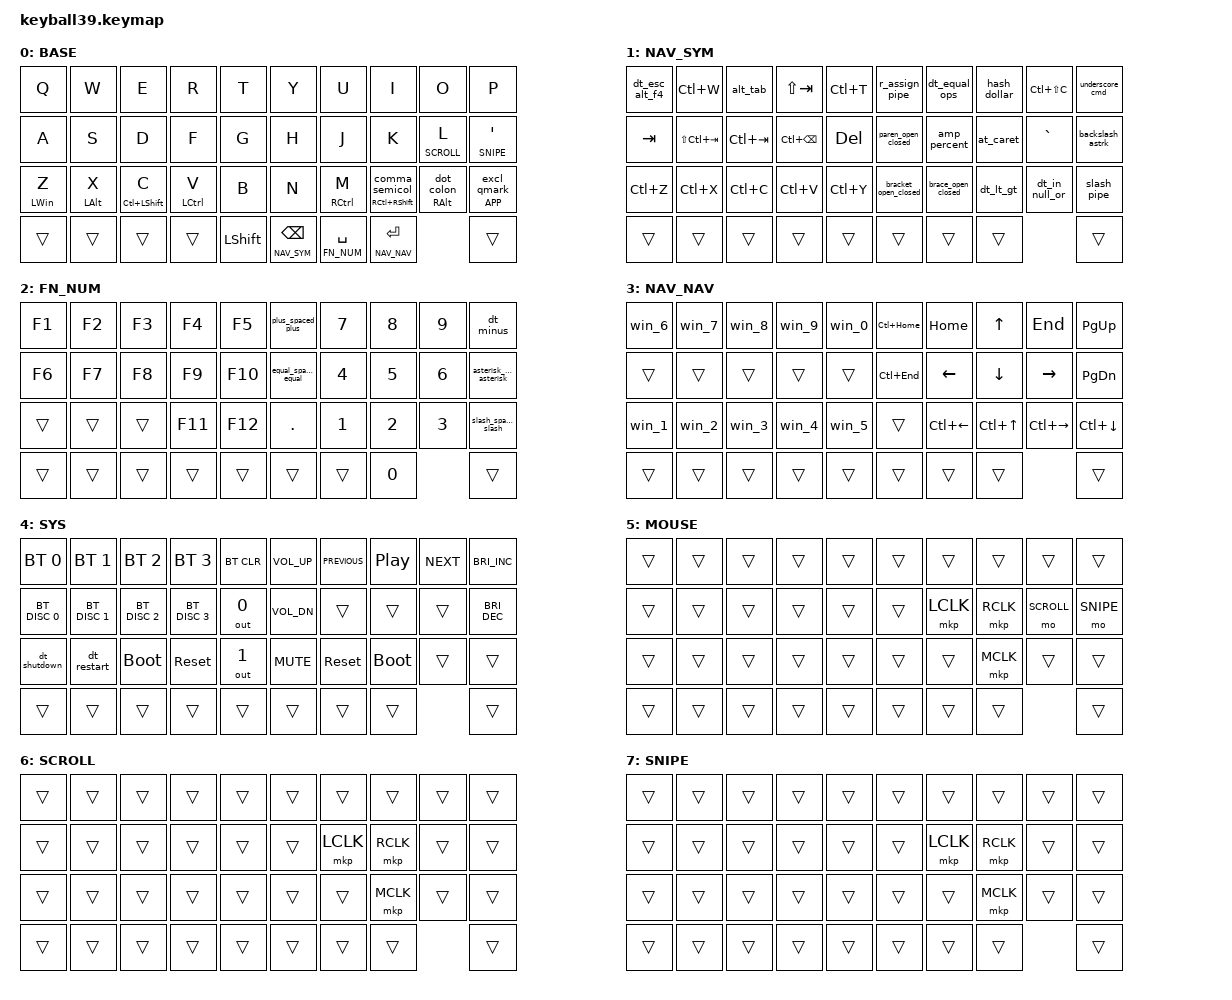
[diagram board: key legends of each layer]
/*
 * Keyball39 (keyball_nano) keymap
 *
 * Layout: 3x5 + 2 thumb keys per half, trackball on the right.
 * Bonus 3 + 1 lower row keys currently unused.
 */

/* ------------------------------------------------------------------ *
 *  Layer indices
 * ------------------------------------------------------------------ */
#define BASE    0
#define NAV_SYM 1
#define FN_NUM  2
#define NAV_NAV 3
#define SYS     4
#define MOUSE   5
#define SCROLL  6
#define SNIPE   7

#include <behaviors/mouse_keys.dtsi>
#include <dt-bindings/zmk/mouse.h>
#include <behaviors.dtsi>
#include <dt-bindings/zmk/bt.h>
#include <dt-bindings/zmk/keys.h>

/* ------------------------------------------------------------------ *
 *  Physical key-position groups
 * ------------------------------------------------------------------ */
#define KEYS_L 0 1 2 3 4 10 11 12 13 14 20 21 22 23 24 30 31 32
#define KEYS_R 5 6 7 8 9 15 16 17 18 19 25 26 27 28 29 38
#define THUMBS 33 34 35 36 37

/* -------------------------------------------------------------------- *
 *  Node-generator helpers: #define macros expand to standard ZMK nodes
 * -------------------------------------------------------------------- */

/* Shift mod-morph: tap -> DEFAULT, either shift held -> SHIFTED */
#define MORPH(NAME, DEFAULT, SHIFTED) \
    NAME: NAME { \
        compatible = "zmk,behavior-mod-morph"; \
        #binding-cells = <0>; \
        bindings = <DEFAULT>, <SHIFTED>; \
        mods = <(MOD_LSFT|MOD_RSFT)>; \
    };

/* Windows desktop/app swapper (tri-state): hold LWIN, tap KEY, release */
#define WINSWAP(NAME, KEY) \
    NAME: NAME { \
        compatible = "zmk,behavior-tri-state"; \
        #binding-cells = <0>; \
        bindings = <&kt LWIN>, <&kp KEY>, <&kt LWIN>; \
    };

/ {
    behaviors {

    /* ------------------------------------------------------------ *
     *  Hold-taps & layer taps
     * ------------------------------------------------------------ */
        lt: layer_tap {
            compatible = "zmk,behavior-hold-tap";
            #binding-cells = <2>;
            flavor = "hold-preferred";
            tapping-term-ms = <280>;
            bindings = <&mo>, <&kp>;
        };
        slt: space_layer_tap {
            compatible = "zmk,behavior-hold-tap";
            #binding-cells = <2>;
            flavor = "balanced";
            tapping-term-ms = <220>;
            bindings = <&mo>, <&kp>;
        };
        htl: left_hand_hold_tap {
            compatible = "zmk,behavior-hold-tap";
            #binding-cells = <2>;
            flavor = "balanced";
            tapping-term-ms = <235>;
            quick-tap-ms = <175>;
            require-prior-idle-ms = <150>;
            bindings = <&kp>, <&kp>;
            hold-trigger-key-positions = <KEYS_R THUMBS>;
            hold-trigger-on-release;
        };
        htr: right_hand_hold_tap {
            compatible = "zmk,behavior-hold-tap";
            #binding-cells = <2>;
            flavor = "balanced";
            tapping-term-ms = <250>;
            quick-tap-ms = <175>;
            require-prior-idle-ms = <150>;
            bindings = <&kp>, <&kp>;
            hold-trigger-key-positions = <KEYS_L THUMBS>;
            hold-trigger-on-release;
        };
        htr_mo: right_hand_layer_tap {
            compatible = "zmk,behavior-hold-tap";
            #binding-cells = <2>;
            flavor = "balanced";
            tapping-term-ms = <250>;
            quick-tap-ms = <175>;
            require-prior-idle-ms = <150>;
            bindings = <&mo>, <&kp>;
            hold-trigger-key-positions = <KEYS_L THUMBS>;
            hold-trigger-on-release;
        };
        /* right hand hold-taps with mod-morph tap (second param unused) */
        htr_comma: right_hand_hold_tap_comma_semicol {
            compatible = "zmk,behavior-hold-tap";
            #binding-cells = <2>;
            flavor = "balanced";
            tapping-term-ms = <250>;
            quick-tap-ms = <175>;
            require-prior-idle-ms = <150>;
            bindings = <&kp>, <&comma_semicol>;
            hold-trigger-key-positions = <KEYS_L THUMBS>;
            hold-trigger-on-release;
        };
        htr_dot: right_hand_hold_tap_dot_colon {
            compatible = "zmk,behavior-hold-tap";
            #binding-cells = <2>;
            flavor = "balanced";
            tapping-term-ms = <250>;
            quick-tap-ms = <175>;
            require-prior-idle-ms = <150>;
            bindings = <&kp>, <&dot_colon>;
            hold-trigger-key-positions = <KEYS_L THUMBS>;
            hold-trigger-on-release;
        };
        htr_excl: right_hand_hold_tap_excl_qmark {
            compatible = "zmk,behavior-hold-tap";
            #binding-cells = <2>;
            flavor = "balanced";
            tapping-term-ms = <250>;
            quick-tap-ms = <175>;
            require-prior-idle-ms = <150>;
            bindings = <&kp>, <&excl_qmark>;
            hold-trigger-key-positions = <KEYS_L THUMBS>;
            hold-trigger-on-release;
        };

    /* ------------------------------------------------------------ *
     *  Tap-dances
     * ------------------------------------------------------------ */
        dt_esc_alt_f4: double_tap_esc_alt_f4 {
            compatible = "zmk,behavior-tap-dance";
            #binding-cells = <0>;
            tapping-term-ms = <150>;
            bindings = <&kp ESCAPE>, <&kp LA(F4)>;
        };
        dt_equal_ops: double_tap_equal_operators {
            compatible = "zmk,behavior-tap-dance";
            #binding-cells = <0>;
            tapping-term-ms = <200>;
            bindings = <&spaced_equal>, <&spaced_equality>, <&spaced_unequal>;
        };
        dt_lt_gt: double_tap_lt_gt_spaced_ops {
            compatible = "zmk,behavior-tap-dance";
            #binding-cells = <0>;
            tapping-term-ms = <200>;
            bindings = <&lt_gt>, <&spaced_lte_gte>;
        };
        dt_in_null_or: double_tap_in_null_or {
            compatible = "zmk,behavior-tap-dance";
            #binding-cells = <0>;
            tapping-term-ms = <200>;
            bindings = <&spaced_in>, <&spaced_null_or>;
        };
        dt_minus: double_tap_minus_emdash {
            compatible = "zmk,behavior-tap-dance";
            #binding-cells = <0>;
            tapping-term-ms = <200>;
            bindings = <&minus_spaced_minus>, <&emdash_spaced_emdash>;
        };

    /* ------------------------------------------------------------ *
     *  Windows swappers (tri-state)
     * ------------------------------------------------------------ */
        alt_tab: swapper_alt_tab {
            compatible = "zmk,behavior-tri-state";
            #binding-cells = <0>;
            bindings = <&kt LALT>, <&kp TAB>, <&kt LALT>;
            ignored-key-positions = <3>;
        };
        WINSWAP(win_1, N1)
        WINSWAP(win_2, N2)
        WINSWAP(win_3, N3)
        WINSWAP(win_4, N4)
        WINSWAP(win_5, N5)
        WINSWAP(win_6, N6)
        WINSWAP(win_7, N7)
        WINSWAP(win_8, N8)
        WINSWAP(win_9, N9)
        WINSWAP(win_0, N0)

    /* ------------------------------------------------------------ *
     *  System macros
     * ------------------------------------------------------------ */
        shutdown_win: shutdown_windows {
            compatible = "zmk,behavior-macro";
            #binding-cells = <0>;
            wait-ms = <50>;
            tap-ms = <50>;
            bindings = <&kp LG(X)>, <&macro_wait_time 300>, <&kp LG(X)>, <&kp U>, <&kp U>;
        };
        restart_win: restart_windows {
            compatible = "zmk,behavior-macro";
            #binding-cells = <0>;
            wait-ms = <50>;
            tap-ms = <50>;
            bindings = <&kp LG(X)>, <&macro_wait_time 300>, <&kp LG(X)>, <&kp U>, <&kp R>;
        };
        dt_shutdown: double_tap_shutdown {
            compatible = "zmk,behavior-tap-dance";
            #binding-cells = <0>;
            tapping-term-ms = <200>;
            bindings = <&none>, <&shutdown_win>;
        };
        dt_restart: double_tap_restart {
            compatible = "zmk,behavior-tap-dance";
            #binding-cells = <0>;
            tapping-term-ms = <200>;
            bindings = <&none>, <&restart_win>;
        };
    
    /* ------------------------------------------------------------ *
     *  Spaced-symbol & operator macros
     *
     *  `&macro_release LSHIFT RSHIFT` prefix drops the shift held by a
     *  mod-morph so an unshifted keycode (MINUS/SLASH/EQUAL) isn't corrupted.
     * ------------------------------------------------------------ */

        /* R operators */
        r_assign: r_assign {                      /* " <- " */
            compatible = "zmk,behavior-macro";
            #binding-cells = <0>;
            bindings = <&kp SPACE &kp LESS_THAN &kp MINUS &kp SPACE>;
        };
        r_pipe: r_pipe {                          /* " |> " */
            compatible = "zmk,behavior-macro";
            #binding-cells = <0>;
            bindings = <&kp SPACE &kp PIPE &kp GREATER_THAN &kp SPACE>;
        };
        spaced_in: spaced_in {                    /* " %in% " */
            compatible = "zmk,behavior-macro";
            #binding-cells = <0>;
            bindings = <&macro_release &kp LSHIFT &kp RSHIFT
                        &macro_tap &kp SPACE &kp PERCENT &kp I &kp N &kp PERCENT &kp SPACE>;
        };
        spaced_null_or: spaced_null_or {          /* " %||% " */
            compatible = "zmk,behavior-macro";
            #binding-cells = <0>;
            bindings = <&kp SPACE &kp PERCENT &kp PIPE &kp PIPE &kp PERCENT &kp SPACE>;
        };

        /* Comparison operators */
        spaced_lte: spaced_less_than_equal_to {   /* " <= " */
            compatible = "zmk,behavior-macro";
            #binding-cells = <0>;
            bindings = <&macro_release &kp LSHIFT &kp RSHIFT
                        &macro_tap &kp SPACE &kp LESS_THAN &kp EQUAL &kp SPACE>;
        };
        spaced_gte: spaced_greater_than_equal_to { /* " >= " */
            compatible = "zmk,behavior-macro";
            #binding-cells = <0>;
            bindings = <&macro_release &kp LSHIFT &kp RSHIFT
                        &macro_tap &kp SPACE &kp GREATER_THAN &kp EQUAL &kp SPACE>;
        };
        spaced_equality: spaced_equality {        /* " == " */
            compatible = "zmk,behavior-macro";
            #binding-cells = <0>;
            bindings = <&kp SPACE &kp EQUAL &kp EQUAL &kp SPACE>;
        };
        spaced_unequal: spaced_unequal {          /* " != " */
            compatible = "zmk,behavior-macro";
            #binding-cells = <0>;
            bindings = <&kp SPACE &kp EXCL &kp EQUAL &kp SPACE>;
        };

        /* Spaced math / symbols (shift-release where keycode is unshifted) */
        spaced_equal: spaced_equal {              /* " = " */
            compatible = "zmk,behavior-macro";
            #binding-cells = <0>;
            bindings = <&macro_release &kp LSHIFT &kp RSHIFT
                        &macro_tap &kp SPACE &kp EQUAL &kp SPACE>;
        };
        spaced_minus: spaced_minus {              /* " - " */
            compatible = "zmk,behavior-macro";
            #binding-cells = <0>;
            bindings = <&macro_release &kp LSHIFT &kp RSHIFT
                        &macro_tap &kp SPACE &kp MINUS &kp SPACE>;
        };
        spaced_plus: spaced_plus {                /* " + " (PLUS is shifted) */
            compatible = "zmk,behavior-macro";
            #binding-cells = <0>;
            bindings = <&kp SPACE &kp PLUS &kp SPACE>;
        };
        spaced_asterisk: spaced_asterisk {        /* " * " (ASTERISK is shifted) */
            compatible = "zmk,behavior-macro";
            #binding-cells = <0>;
            bindings = <&kp SPACE &kp ASTERISK &kp SPACE>;
        };
        spaced_slash: spaced_slash {              /* " / " */
            compatible = "zmk,behavior-macro";
            #binding-cells = <0>;
            bindings = <&macro_release &kp LSHIFT &kp RSHIFT
                        &macro_tap &kp SPACE &kp SLASH &kp SPACE>;
        };

        /* Em-dash via Windows Alt+0151 (NumLock must be ON) */
        emdash: emdash {                          /* "—" */
            compatible = "zmk,behavior-macro";
            #binding-cells = <0>;
            bindings = <&macro_release &kp LSHIFT &kp RSHIFT
                        &macro_press &kp LALT
                        &macro_tap &kp KP_N0 &kp KP_N1 &kp KP_N5 &kp KP_N1
                        &macro_release &kp LALT>;
        };
        spaced_emdash: spaced_emdash {            /* " — " */
            compatible = "zmk,behavior-macro";
            #binding-cells = <0>;
            bindings = <&macro_release &kp LSHIFT &kp RSHIFT
                        &macro_tap &kp SPACE
                        &macro_press &kp LALT
                        &macro_tap &kp KP_N0 &kp KP_N1 &kp KP_N5 &kp KP_N1
                        &macro_release &kp LALT
                        &macro_tap &kp SPACE>;
        };
    };

    /* ------------------------------------------------------------ *
     *  Shift mod-morphs (tap = default, either shift = alternate)
     * ------------------------------------------------------------ */

    /* Punctuation / symbol pairs */
    MORPH(comma_semicol,        &kp COMMA,            &kp SEMICOLON)
    MORPH(dot_colon,            &kp DOT,              &kp COLON)
    MORPH(excl_qmark,           &kp EXCL,             &kp QMARK)
    MORPH(paren_open_closed,    &kp LEFT_PARENTHESIS, &kp RIGHT_PARENTHESIS)
    MORPH(bracket_open_closed,  &kp LEFT_BRACKET,     &kp RIGHT_BRACKET)
    MORPH(brace_open_closed,    &kp LEFT_BRACE,       &kp RIGHT_BRACE)
    MORPH(hash_dollar,          &kp HASH,             &kp DOLLAR)
    MORPH(amp_percent,          &kp AMPERSAND,        &kp PERCENT)
    MORPH(at_caret,             &kp AT_SIGN,          &kp CARET)
    MORPH(slash_pipe,           &kp SLASH,            &kp PIPE)
    MORPH(backslash_astrk,      &kp BACKSLASH,        &kp ASTERISK)
    MORPH(lt_gt,                &kp LESS_THAN,        &kp GREATER_THAN)
    MORPH(spaced_lte_gte,       &spaced_lte,          &spaced_gte)
    MORPH(r_assign_pipe,        &r_assign,            &r_pipe)
    MORPH(underscore_cmd,       &kp UNDERSCORE,       &kp LC(LS(P)))

    /* FN_NUM spaced-symbol morphs (tap = symbol, shift = spaced version) */
    MORPH(plus_spaced_plus,         &kp PLUS,     &spaced_plus)
    MORPH(minus_spaced_minus,       &kp MINUS,    &spaced_minus)
    MORPH(emdash_spaced_emdash,     &emdash,      &spaced_emdash)
    MORPH(asterisk_spaced_asterisk, &kp ASTERISK, &spaced_asterisk)
    MORPH(slash_spaced_slash,       &kp SLASH,    &spaced_slash)
    MORPH(equal_spaced_equal,       &kp EQUAL,    &spaced_equal)

    /* ------------------------------------------------------------ *
     *  Conditional layers (NAV_SYM + FN_NUM held -> SYS)
     * ------------------------------------------------------------ */
    conditional_layers {
        compatible = "zmk,conditional-layers";

        system {
            if-layers = <NAV_SYM FN_NUM>;
            then-layer = <SYS>;
        };
    };

    /* ------------------------------------------------------------ *
     *  Keymap
     * ------------------------------------------------------------ */
    keymap {
        compatible = "zmk,keymap";

        /* BASE - alpha + bottom-row mods + thumb layer-taps */
        BASE {
            label = "BASE";
            bindings = <
&kp Q        &kp W        &kp E             &kp R         &kp T                   &kp Y              &kp U         &kp I                   &kp O             &kp P
&kp A        &kp S        &kp D             &kp F         &kp G                   &kp H              &kp J         &kp K                   &htr_mo SCROLL L  &htr_mo SNIPE APOS
&htl LWIN Z  &htl LALT X  &htl LC(LSHFT) C  &htl LCTRL V  &kp B                   &kp N              &htr RCTRL M  &htr_comma RC(RSHFT) 0  &htr_dot RALT 0   &htr_excl K_APP 0
&trans  &trans  &trans  &trans              &kp LSHIFT    &lt NAV_SYM BSPC        &slt FN_NUM SPACE  &lt NAV_NAV ENTER                                       &trans
            >;
        };

        /* NAV_SYM - editing shortcuts + programming symbols */
        NAV_SYM {
            label = "NAV_SYM";
            bindings = <
&dt_esc_alt_f4  &kp LC(W)        &alt_tab     &kp LS(TAB)   &kp LC(T)        &r_assign_pipe        &dt_equal_ops       &hash_dollar  &kp LC(LS(C))   &underscore_cmd
&kp TAB         &kp LS(LC(TAB))  &kp LC(TAB)  &kp LC(BSPC)  &kp DEL          &paren_open_closed    &amp_percent        &at_caret     &kp GRAVE       &backslash_astrk
&kp LC(Z)       &kp LC(X)        &kp LC(C)    &kp LC(V)     &kp LC(Y)        &bracket_open_closed  &brace_open_closed  &dt_lt_gt     &dt_in_null_or  &slash_pipe
&trans  &trans  &trans  &trans                &trans        &trans           &trans                &trans                                            &trans
            >;
        };

        /* FN_NUM - F-keys + numpad & spaced math operators */
        FN_NUM {
            label = "FN_NUM";
            bindings = <
&kp F1  &kp F2  &kp F3  &kp F4   &kp F5                 &plus_spaced_plus    &kp N7  &kp N8  &kp N9  &dt_minus
&kp F6  &kp F7  &kp F8  &kp F9   &kp F10                &equal_spaced_equal  &kp N4  &kp N5  &kp N6  &asterisk_spaced_asterisk
&trans  &trans  &trans  &kp F11  &kp F12                &kp DOT              &kp N1  &kp N2  &kp N3  &slash_spaced_slash
&trans  &trans  &trans  &trans   &trans   &trans        &trans               &kp N0                  &trans
            >;
        };

        /* NAV_NAV - window swappers + arrow navigation */
        NAV_NAV {
            label = "NAV_NAV";
            bindings = <
&win_6  &win_7  &win_8  &win_9  &win_0                &kp LC(HOME)  &kp HOME      &kp UP      &kp END        &kp PG_UP
&trans  &trans  &trans  &trans  &trans                &kp LC(END)   &kp LEFT      &kp DOWN    &kp RIGHT      &kp PG_DN
&win_1  &win_2  &win_3  &win_4  &win_5                &trans        &kp LC(LEFT)  &kp LC(UP)  &kp LC(RIGHT)  &kp LC(DOWN_ARROW)
&trans  &trans  &trans  &trans  &trans  &trans        &trans        &trans                                   &trans
            >;
        };

        /* SYS - BT/output + media & power */
        SYS {
            label = "SYS";
            bindings = <
&bt BT_SEL 0   &bt BT_SEL 1   &bt BT_SEL 2   &bt BT_SEL 3   &bt BT_CLR        &kp C_VOL_UP  &kp C_PREVIOUS  &kp C_PLAY_PAUSE  &kp C_NEXT  &kp C_BRIGHTNESS_INC
&bt BT_DISC 0  &bt BT_DISC 1  &bt BT_DISC 2  &bt BT_DISC 3  &out 0            &kp C_VOL_DN  &trans          &trans            &trans      &kp C_BRIGHTNESS_DEC
&dt_shutdown   &dt_restart    &bootloader    &sys_reset     &out 1            &kp C_MUTE    &sys_reset      &bootloader       &trans      &trans
&trans  &trans  &trans  &trans               &trans         &trans            &trans        &trans                                        &trans
            >;
        };

        /* MOUSE - clicks + scroll/snipe layer access */
        MOUSE {
            label = "MOUSE";
            bindings = <
&trans  &trans  &trans  &trans  &trans                &trans  &trans     &trans     &trans      &trans
&trans  &trans  &trans  &trans  &trans                &trans  &mkp LCLK  &mkp RCLK  &mo SCROLL  &mo SNIPE
&trans  &trans  &trans  &trans  &trans                &trans  &trans     &mkp MCLK  &trans      &trans
&trans  &trans  &trans  &trans  &trans  &trans        &trans  &trans                            &trans
            >;
        };

        /* SCROLL - trackball scrolls */
        SCROLL {
            label = "SCROLL";
            bindings = <
&trans  &trans  &trans  &trans  &trans                &trans  &trans     &trans     &trans  &trans
&trans  &trans  &trans  &trans  &trans                &trans  &mkp LCLK  &mkp RCLK  &trans  &trans
&trans  &trans  &trans  &trans  &trans                &trans  &trans     &mkp MCLK  &trans  &trans
&trans  &trans  &trans  &trans  &trans  &trans        &trans  &trans                        &trans
            >;
        };

        /* SNIPE - trackball slowed for precision */
        SNIPE {
            label = "SNIPE";
            bindings = <
&trans  &trans  &trans  &trans  &trans                &trans  &trans     &trans     &trans  &trans
&trans  &trans  &trans  &trans  &trans                &trans  &mkp LCLK  &mkp RCLK  &trans  &trans
&trans  &trans  &trans  &trans  &trans                &trans  &trans     &mkp MCLK  &trans  &trans
&trans  &trans  &trans  &trans  &trans  &trans        &trans  &trans                        &trans
            >;
        };
    };
};
